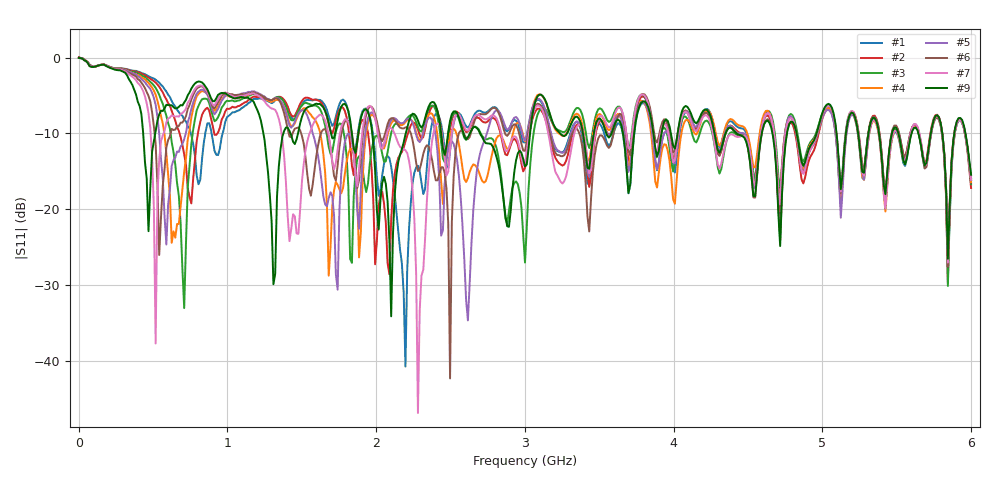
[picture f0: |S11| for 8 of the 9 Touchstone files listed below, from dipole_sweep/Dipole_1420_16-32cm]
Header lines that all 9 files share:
# GHZ S RI R 50.000000000000
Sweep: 1 MHz to 6 GHz
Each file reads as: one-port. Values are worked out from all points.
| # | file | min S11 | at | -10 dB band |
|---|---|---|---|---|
| 1 | dipole_L16cm_20261104-114852.s1p | -40.8 dB | 2.197 GHz | 385.3 MHz wide |
| 2 | dipole_L18cm_20261104-114911.s1p | -29.8 dB | 5.844 GHz | 268.3 MHz wide |
| 3 | dipole_L20cm_20261104-114924.s1p | -33.0 dB | 708.9 MHz | 355.3 MHz wide |
| 4 | dipole_L22cm_20261104-114943.s1p | -28.8 dB | 1.681 GHz | 381 MHz wide |
| 5 | dipole_L24cm_20261104-115006.s1p | -34.7 dB | 2.617 GHz | 353.2 MHz wide |
| 6 | dipole_L26cm_20261104-115022.s1p | -42.3 dB | 2.497 GHz | 322.7 MHz wide |
| 7 | dipole_L28cm_20261104-115038.s1p | -46.9 dB | 2.281 GHz | 323.3 MHz wide |
| 8 | dipole_L30cm_20261104-115104.s1p | -39.2 dB | 2.161 GHz | 265.1 MHz wide |
| 9 | dipole_L32cm_20261104-115117.s1p | -34.1 dB | 2.101 GHz | 336.7 MHz wide |
